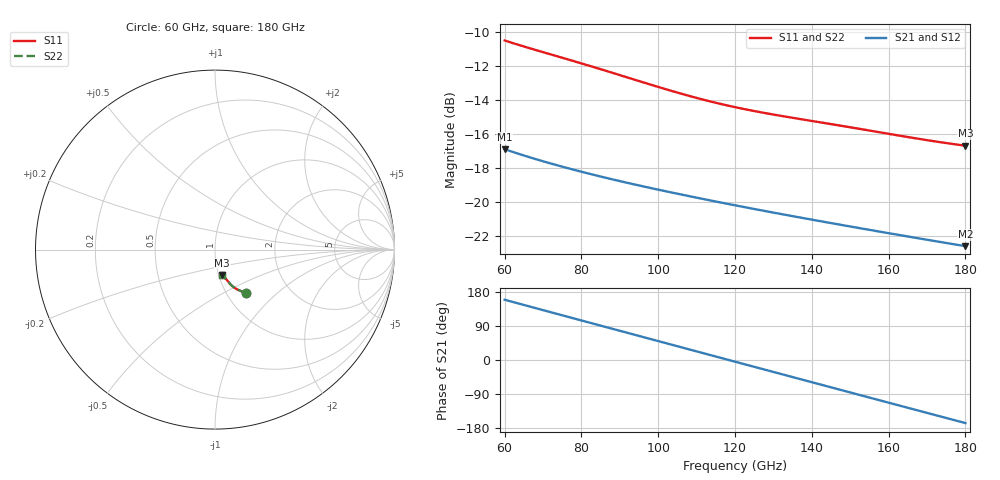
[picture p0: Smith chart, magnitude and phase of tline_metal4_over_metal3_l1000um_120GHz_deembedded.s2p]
! Created with skrf 2.2.0 (http://scikit-rf.org).
# GHz S DB R 50.0
! Port[1] = P1
! Port[2] = P2
!freq dBS11 angS11 dBS21 angS21 dBS12 angS12 dBS22 angS22
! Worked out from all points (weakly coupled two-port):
!   101 points, 60 GHz to 180 GHz, reference 50 ohm
!   highest |S21| = -16.91 dB at 60 GHz (marker M1); lowest = -22.6 dB at 180 GHz (marker M2)
!   lowest |S11| = -16.7 dB at 180 GHz (marker M3), VSWR 1.34, Z = 52 - j14.9 ohm
!   |S11| at or under -10 dB: start of sweep to end of sweep
!   |S22| runs from -16.7 to -10.5 dB; largest |S21 - S12| = 1.1e-13
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60  -10.50 -54.9  -16.91 159.1  -16.91 159.1  -10.50 -54.8
66  -10.92 -56.5  -17.35 142.6  -17.35 142.6  -10.93 -56.4
70.8  -11.24 -57.8  -17.67 129.5  -17.67 129.5  -11.25 -57.7
75.6  -11.56 -59.3  -17.97 116.4  -17.97 116.4  -11.57 -59.1
80.4  -11.88 -60.7  -18.26 103.3  -18.26 103.3  -11.89 -60.6
85.2  -12.21 -62.1  -18.53 90.2  -18.53 90.2  -12.22 -61.9
90  -12.54 -63.4  -18.79 77.1  -18.79 77.1  -12.55 -63.2
94.8  -12.88 -64.5  -19.03 64.1  -19.03 64.1  -12.89 -64.3
100.8  -13.29 -65.7  -19.33 47.8  -19.33 47.8  -13.31 -65.4
105.6  -13.61 -66.4  -19.56 34.7  -19.56 34.7  -13.62 -66.1
110.4  -13.91 -67.0  -19.78 21.7  -19.78 21.7  -13.92 -66.7
115.2  -14.18 -67.5  -20.00 8.6  -20.00 8.6  -14.19 -67.2
120  -14.43 -67.9  -20.21 -4.4  -20.21 -4.4  -14.44 -67.6
129.6  -14.85 -68.8  -20.63 -30.4  -20.63 -30.4  -14.85 -68.4
135.6  -15.08 -69.5  -20.88 -46.7  -20.88 -46.7  -15.08 -69.1
140.4  -15.26 -70.1  -21.08 -59.7  -21.08 -59.7  -15.26 -69.6
145.2  -15.44 -70.7  -21.27 -72.6  -21.27 -72.6  -15.43 -70.3
150  -15.62 -71.4  -21.46 -85.6  -21.46 -85.6  -15.61 -70.9
154.8  -15.80 -72.0  -21.65 -98.6  -21.65 -98.6  -15.79 -71.6
160.8  -16.03 -72.7  -21.89 -114.8  -21.89 -114.8  -16.02 -72.3
170.4  -16.39 -73.6  -22.26 -140.6  -22.26 -140.6  -16.37 -73.2
180  -16.70 -74.2  -22.62 -166.4  -22.62 -166.4  -16.69 -73.9
